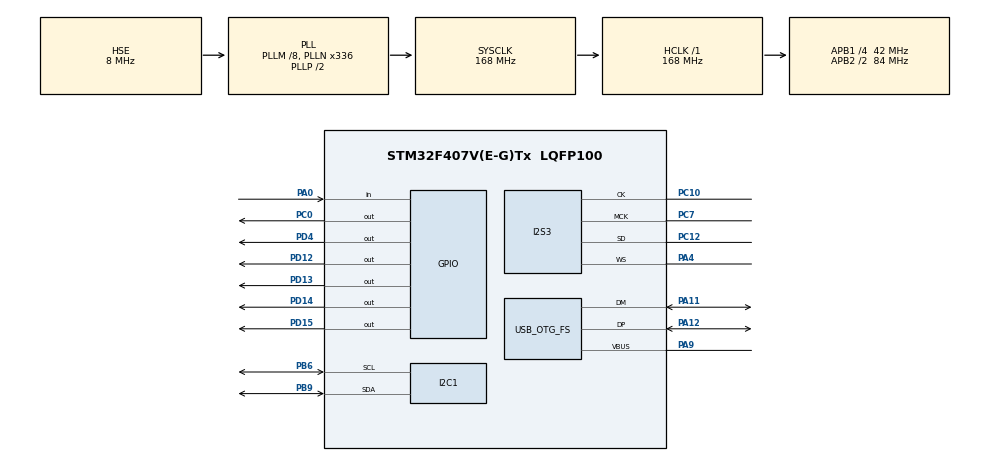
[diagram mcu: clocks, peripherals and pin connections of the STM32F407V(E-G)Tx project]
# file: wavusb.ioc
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Mcu.Family=STM32F4
Dma.SPI3_TX.0.FIFOMode=DMA_FIFOMODE_ENABLE
Dma.SPI3_TX.0.Priority=DMA_PRIORITY_LOW
Dma.SPI3_TX.0.MemInc=DMA_MINC_ENABLE
PH0-OSC_IN.Signal=RCC_OSC_IN
RCC.CortexFreq_Value=168000000
PC10.Signal=I2S3_CK
PC12.Signal=I2S3_SD
PA11.Mode=Host_Only
Dma.SPI3_TX.0.PeriphDataAlignment=DMA_PDATAALIGN_HALFWORD
RCC.SYSCLKSource=RCC_SYSCLKSOURCE_PLLCLK
ProjectManager.StackSize=0x2000
PD13.Signal=GPIO_Output
Dma.SPI3_TX.0.FIFOThreshold=DMA_FIFO_THRESHOLD_FULL
PA12.Signal=USB_OTG_FS_DP
PA4.Mode=Half_Duplex_Master
RCC.HCLKFreq_Value=168000000
PD4.Signal=GPIO_Output
RCC.APB2TimFreq_Value=168000000
PB6.Signal=I2C1_SCL
PC7.Signal=I2S3_MCK
PB6.Mode=I2C
USB_HOST0.BSP.ip=I2C
Dma.SPI3_TX.0.Direction=DMA_MEMORY_TO_PERIPH
RCC.AHBFreq_Value=168000000
PH0-OSC_IN.Mode=HSE-External-Oscillator
RCC.HSE_VALUE=8000000
USB_OTG_FS.phy_itface=HCD_PHY_EMBEDDED
I2S3.ErrorAudioFreq=0.24 %
Dma.SPI3_TX.0.MemDataAlignment=DMA_MDATAALIGN_HALFWORD
PH1-OSC_OUT.Mode=HSE-External-Oscillator
USB_HOST0.BSP.i2caddr=0
Mcu.Package=LQFP100
PB9.Signal=I2C1_SDA
PD12.Signal=GPIO_Output
NVIC.OTG_FS_IRQn=true\:0\:0\:false\:false\:true\:false\:true
USB_OTG_FS.VirtualMode=Host_Only
USB_HOST0.BSP.name=Drive_VBUS_FS
RCC.APB2CLKDivider=RCC_HCLK_DIV2
RCC.APB1TimFreq_Value=84000000
Dma.Request0=SPI3_TX
PD15.Signal=GPIO_Output
I2S3.FullDuplexMode=I2S_FULLDUPLEXMODE_DISABLE
VP_USB_HOST_VS_USB_HOST_MSC_FS.Mode=MSC_FS
USB_HOST0.BSP.solution=I2C1
PC10.Mode=Half_Duplex_Master
USB_HOST.BSP.number=1
PC0.Signal=GPIO_Output
RCC.APB1CLKDivider=RCC_HCLK_DIV4
I2S3.DataFormat=I2S_DATAFORMAT_32B
USB_HOST.USBH_HandleTypeDef-MSC_FS=hUsbHostFS
PA0-WKUP.Signal=GPIO_Input
USB_HOST0.BSP.STBoard=false
Dma.SPI3_TX.0.PeriphBurst=DMA_PBURST_SINGLE
PA9.Mode=Activate_VBUS
ProjectManager.TargetToolchain=STM32CubeIDE
NVIC.DMA1_Stream5_IRQn=true\:0\:0\:false\:false\:true\:false\:true
PB9.Mode=I2C
PA9.Signal=USB_OTG_FS_VBUS
I2S3.VirtualMode=I2S_MODE_MASTER
Dma.SPI3_TX.0.PeriphInc=DMA_PINC_DISABLE
RCC.LSE_VALUE=32768
I2S3.AudioFreq=I2S_AUDIOFREQ_44K
PC12.Mode=Half_Duplex_Master
board=STM32F407G-DISC1
RCC.VCOOutputFreq_Value=336000000
USB_HOST.VirtualModeFS=Msc
RCC.APB2Freq_Value=84000000
USB_HOST0.BSP.api=Unknown
PH1-OSC_OUT.Signal=RCC_OSC_OUT
Dma.SPI3_TX.0.Instance=DMA1_Stream5
Mcu.Name=STM32F407V(E-G)Tx
FATFS._MAX_SS=4096
PD14.Signal=GPIO_Output
RCC.48MHZClocksFreq_Value=48000000
PA4.Signal=I2S3_WS
RCC.SYSCLKFreq_VALUE=168000000
PA12.Mode=Host_Only
Dma.SPI3_TX.0.Mode=DMA_NORMAL
PA11.Signal=USB_OTG_FS_DM
ProjectManager.HeapSize=0x2000
VP_FATFS_VS_USB.Mode=USB
RCC.HSI_VALUE=16000000
RCC.PLLQ=7
NVIC.PriorityGroup=NVIC_PRIORITYGROUP_0
I2S3.RealAudioFreq=44.108 KHz
RCC.PLLM=8
RCC.PLLN=336
Dma.SPI3_TX.0.MemBurst=DMA_MBURST_SINGLE
I2S3.Instance=SPI$Index
PC7.Mode=Master_Clock_Activated
RCC.APB1Freq_Value=42000000
RCC.PLLI2SR=6
USB_HOST0.BSP.mode=I2C
RCC.PLLI2SN=271
USB_HOST0.BSP.instance=I2C1

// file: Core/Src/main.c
/* USER CODE BEGIN Header */
/**
  ******************************************************************************
  * @file           : main.c
  * @brief          : Main program body
  ******************************************************************************
  * @attention
  *
  * <h2><center>&copy; Copyright (c) 2022 STMicroelectronics.
  * All rights reserved.</center></h2>
  *
  * This software component is licensed by ST under BSD 3-Clause license,
  * the "License"; You may not use this file except in compliance with the
  * License. You may obtain a copy of the License at:
  *                        opensource.org/licenses/BSD-3-Clause
  *
  ******************************************************************************
  */
/* USER CODE END Header */
#include "main.h"
#include "fatfs.h"
#include "usb_host.h"

/* USER CODE BEGIN Includes */
#include "audioI2S.h"
#include "MY_CS43L22.h"
#include "wav_player.h"
/* USER CODE END Includes */

/* USER CODE BEGIN PTD */
extern ApplicationTypeDef Appli_state;
/* USER CODE END PTD */

I2C_HandleTypeDef hi2c1;

I2S_HandleTypeDef hi2s3;
DMA_HandleTypeDef hdma_spi3_tx;

/* USER CODE BEGIN PV */
const char* WAW_FILE;
#define WAW_FILE1 "1.wav"
#define WAW_FILE2 "2.wav"
#define WAW_FILE3 "3.wav"
#define WAW_FILE4 "4.wav"
#define WAW_FILE5 "5.wav"
#define WAW_FILE6 "6.wav"
#define WAW_FILE7 "7.wav"
/* USER CODE END PV */

void SystemClock_Config(void);
static void MX_GPIO_Init(void);
static void MX_DMA_Init(void);
static void MX_I2C1_Init(void);
static void MX_I2S3_Init(void);
void MX_USB_HOST_Process(void);

int main(void)
{

  /* MCU Configuration--------------------------------------------------------*/

  /* Reset of all peripherals, Initializes the Flash interface and the Systick. */
  HAL_Init();

  /* Configure the system clock */
  SystemClock_Config();

  /* Initialize all configured peripherals */
  MX_GPIO_Init();
  MX_DMA_Init();
  MX_I2C1_Init();
  MX_I2S3_Init();
  MX_FATFS_Init();
  MX_USB_HOST_Init();
  /* USER CODE BEGIN 2 */
  CS43_Init(hi2c1, MODE_I2S);
  CS43_SetVolume(85);//0-255
  CS43_Enable_RightLeft(CS43_RIGHT);
  audioI2S_setHandle(&hi2s3);
  bool isSdcCardMounted=0;
  bool pauseResumeToogle=0;
  /* USER CODE END 2 */

  /* Infinite loop */
  /* USER CODE BEGIN WHILE */
  int x=0;
  WAW_FILE=WAW_FILE7;
  while (1)
  {
    /* USER CODE END WHILE */
    MX_USB_HOST_Process();

    /* USER CODE BEGIN 3 */
    if(Appli_state==APPLICATION_START)
    {
    	HAL_GPIO_WritePin(GPIOD, GPIO_PIN_12, GPIO_PIN_SET);
    }
    else if(Appli_state==APPLICATION_DISCONNECT)
    {
    	HAL_GPIO_WritePin(GPIOD, GPIO_PIN_12, GPIO_PIN_RESET);
    }
    if(Appli_state==APPLICATION_READY)
    {
    	if(!isSdcCardMounted)
    	{
    		f_mount(&USBHFatFS, (const TCHAR*)USBHPath, 0);
    		isSdcCardMounted=1;
    	}
    	if(HAL_GPIO_ReadPin(GPIOA, GPIO_PIN_0))
    	{
    		HAL_GPIO_WritePin(GPIOD, GPIO_PIN_13, GPIO_PIN_SET);
    		HAL_Delay(500);

    		x++;
    		if(x==1) WAW_FILE=WAW_FILE1;
    		if(x==2) WAW_FILE=WAW_FILE2;
    		if(x==3) WAW_FILE=WAW_FILE3;
    		if(x==4) WAW_FILE=WAW_FILE4;
    		if(x==5) WAW_FILE=WAW_FILE5;
    		if(x==6) WAW_FILE=WAW_FILE6;
    		if(x==7) WAW_FILE=WAW_FILE7;
    		if(x>8) x=0;
    		if(wavPlayer_fileSelect(WAW_FILE))
    		{
    			wavPlayer_play();
    		}
    		else
    		{
    			isSdcCardMounted=0;

    		}

    		while(wavPlayer_isFinished())
    		{
    			wavPlayer_process();
    			if(HAL_GPIO_ReadPin(GPIOA, GPIO_PIN_0))
    			   {
    				pauseResumeToogle=!pauseResumeToogle;
    				if(pauseResumeToogle)
    				{
    					HAL_GPIO_WritePin(GPIOD, GPIO_PIN_14, GPIO_PIN_SET);
    					wavPlayer_pause();
    					HAL_Delay(200);
    				}
    				else
    				{
    					HAL_GPIO_WritePin(GPIOD, GPIO_PIN_14, GPIO_PIN_RESET);
    					HAL_Delay(1000);
    					if(HAL_GPIO_ReadPin(GPIOA, GPIO_PIN_0))
    					{
    						wavPlayer_stop();
    					}
    					else	wavPlayer_resume();

    				}

    			   }
    		}
    		HAL_GPIO_WritePin(GPIOD, GPIO_PIN_13, GPIO_PIN_RESET);
    		HAL_Delay(1000);
    	}

    }

  }
  /* USER CODE END 3 */
}

void SystemClock_Config(void)
{
  RCC_OscInitTypeDef RCC_OscInitStruct = {0};
  RCC_ClkInitTypeDef RCC_ClkInitStruct = {0};
  RCC_PeriphCLKInitTypeDef PeriphClkInitStruct = {0};

  /** Configure the main internal regulator output voltage
  */
  __HAL_RCC_PWR_CLK_ENABLE();
  __HAL_PWR_VOLTAGESCALING_CONFIG(PWR_REGULATOR_VOLTAGE_SCALE1);
  /** Initializes the RCC Oscillators according to the specified parameters
  * in the RCC_OscInitTypeDef structure.
  */
  RCC_OscInitStruct.OscillatorType = RCC_OSCILLATORTYPE_HSE;
  RCC_OscInitStruct.HSEState = RCC_HSE_ON;
  RCC_OscInitStruct.PLL.PLLState = RCC_PLL_ON;
  RCC_OscInitStruct.PLL.PLLSource = RCC_PLLSOURCE_HSE;
  RCC_OscInitStruct.PLL.PLLM = 8;
  RCC_OscInitStruct.PLL.PLLN = 336;
  RCC_OscInitStruct.PLL.PLLP = RCC_PLLP_DIV2;
  RCC_OscInitStruct.PLL.PLLQ = 7;
  if (HAL_RCC_OscConfig(&RCC_OscInitStruct) != HAL_OK)
  {
    Error_Handler();
  }
  /** Initializes the CPU, AHB and APB buses clocks
  */
  RCC_ClkInitStruct.ClockType = RCC_CLOCKTYPE_HCLK|RCC_CLOCKTYPE_SYSCLK
                              |RCC_CLOCKTYPE_PCLK1|RCC_CLOCKTYPE_PCLK2;
  RCC_ClkInitStruct.SYSCLKSource = RCC_SYSCLKSOURCE_PLLCLK;
  RCC_ClkInitStruct.AHBCLKDivider = RCC_SYSCLK_DIV1;
  RCC_ClkInitStruct.APB1CLKDivider = RCC_HCLK_DIV4;
  RCC_ClkInitStruct.APB2CLKDivider = RCC_HCLK_DIV2;

  if (HAL_RCC_ClockConfig(&RCC_ClkInitStruct, FLASH_LATENCY_5) != HAL_OK)
  {
    Error_Handler();
  }
  PeriphClkInitStruct.PeriphClockSelection = RCC_PERIPHCLK_I2S;
  PeriphClkInitStruct.PLLI2S.PLLI2SN = 271;
  PeriphClkInitStruct.PLLI2S.PLLI2SR = 6;
  if (HAL_RCCEx_PeriphCLKConfig(&PeriphClkInitStruct) != HAL_OK)
  {
    Error_Handler();
  }
}

static void MX_I2C1_Init(void)
{

  hi2c1.Instance = I2C1;
  hi2c1.Init.ClockSpeed = 100000;
  hi2c1.Init.DutyCycle = I2C_DUTYCYCLE_2;
  hi2c1.Init.OwnAddress1 = 0;
  hi2c1.Init.AddressingMode = I2C_ADDRESSINGMODE_7BIT;
  hi2c1.Init.DualAddressMode = I2C_DUALADDRESS_DISABLE;
  hi2c1.Init.OwnAddress2 = 0;
  hi2c1.Init.GeneralCallMode = I2C_GENERALCALL_DISABLE;
  hi2c1.Init.NoStretchMode = I2C_NOSTRETCH_DISABLE;
  if (HAL_I2C_Init(&hi2c1) != HAL_OK)
  {
    Error_Handler();
  }

}

static void MX_I2S3_Init(void)
{

  hi2s3.Instance = SPI3;
  hi2s3.Init.Mode = I2S_MODE_MASTER_TX;
  hi2s3.Init.Standard = I2S_STANDARD_PHILIPS;
  hi2s3.Init.DataFormat = I2S_DATAFORMAT_32B;
  hi2s3.Init.MCLKOutput = I2S_MCLKOUTPUT_ENABLE;
  hi2s3.Init.AudioFreq = I2S_AUDIOFREQ_44K;
  hi2s3.Init.CPOL = I2S_CPOL_LOW;
  hi2s3.Init.ClockSource = I2S_CLOCK_PLL;
  hi2s3.Init.FullDuplexMode = I2S_FULLDUPLEXMODE_DISABLE;
  if (HAL_I2S_Init(&hi2s3) != HAL_OK)
  {
    Error_Handler();
  }

}

static void MX_DMA_Init(void)
{

  /* DMA controller clock enable */
  __HAL_RCC_DMA1_CLK_ENABLE();

  /* DMA interrupt init */
  /* DMA1_Stream5_IRQn interrupt configuration */
  HAL_NVIC_SetPriority(DMA1_Stream5_IRQn, 0, 0);
  HAL_NVIC_EnableIRQ(DMA1_Stream5_IRQn);

}

static void MX_GPIO_Init(void)
{
  GPIO_InitTypeDef GPIO_InitStruct = {0};

  /* GPIO Ports Clock Enable */
  __HAL_RCC_GPIOH_CLK_ENABLE();
  __HAL_RCC_GPIOC_CLK_ENABLE();
  __HAL_RCC_GPIOA_CLK_ENABLE();
  __HAL_RCC_GPIOD_CLK_ENABLE();
  __HAL_RCC_GPIOB_CLK_ENABLE();

  /*Configure GPIO pin Output Level */
  HAL_GPIO_WritePin(GPIOC, GPIO_PIN_0, GPIO_PIN_RESET);

  /*Configure GPIO pin Output Level */
  HAL_GPIO_WritePin(GPIOD, GPIO_PIN_12|GPIO_PIN_13|GPIO_PIN_14|GPIO_PIN_15
                          |GPIO_PIN_4, GPIO_PIN_RESET);

  /*Configure GPIO pin : PC0 */
  GPIO_InitStruct.Pin = GPIO_PIN_0;
  GPIO_InitStruct.Mode = GPIO_MODE_OUTPUT_PP;
  GPIO_InitStruct.Pull = GPIO_NOPULL;
  GPIO_InitStruct.Speed = GPIO_SPEED_FREQ_LOW;
  HAL_GPIO_Init(GPIOC, &GPIO_InitStruct);

  /*Configure GPIO pin : PA0 */
  GPIO_InitStruct.Pin = GPIO_PIN_0;
  GPIO_InitStruct.Mode = GPIO_MODE_INPUT;
  GPIO_InitStruct.Pull = GPIO_NOPULL;
  HAL_GPIO_Init(GPIOA, &GPIO_InitStruct);

  /*Configure GPIO pins : PD12 PD13 PD14 PD15
                           PD4 */
  GPIO_InitStruct.Pin = GPIO_PIN_12|GPIO_PIN_13|GPIO_PIN_14|GPIO_PIN_15
                          |GPIO_PIN_4;
  GPIO_InitStruct.Mode = GPIO_MODE_OUTPUT_PP;
  GPIO_InitStruct.Pull = GPIO_NOPULL;
  GPIO_InitStruct.Speed = GPIO_SPEED_FREQ_LOW;
  HAL_GPIO_Init(GPIOD, &GPIO_InitStruct);

}

void Error_Handler(void)
{
  __disable_irq();
  while (1)
  {
  }
}

/************************ (C) COPYRIGHT STMicroelectronics *****END OF FILE****/
